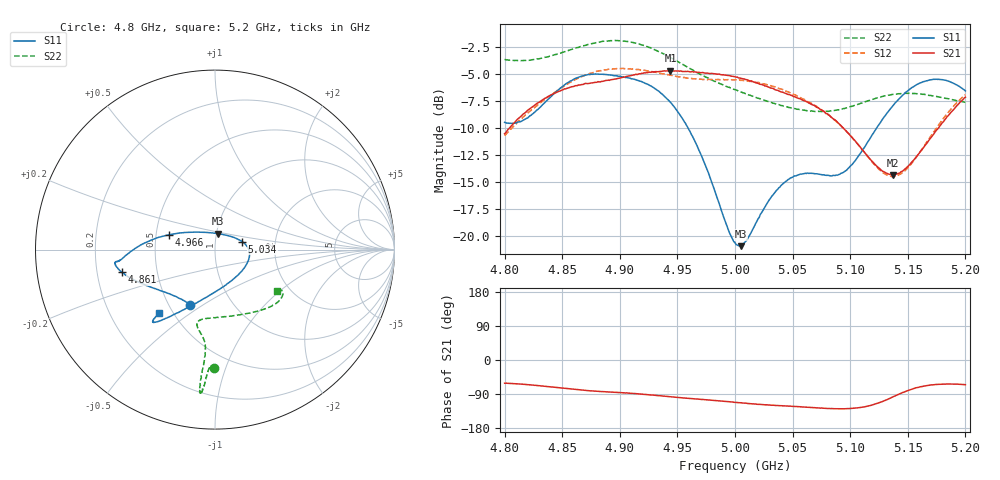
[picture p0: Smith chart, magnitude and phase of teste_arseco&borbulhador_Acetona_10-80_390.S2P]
! Network Analyzer HP8722D
! Hewlett-Packard
! Data name: Linha & Wilkinson
! Saver's name: Rodrigo Anjos
! Comments: Teste da utilização de aquisição
! continua pelo VNA HP8722D
! Time and date: 17/4/2025 17:36
!  Frequency  S11  S21  S12  S22
# HZ  S  MA R 50
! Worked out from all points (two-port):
!   401 points, 4.8 GHz to 5.2 GHz, reference 50 ohm
!   highest |S21| = -4.69 dB at 4.944 GHz (marker M1); lowest = -14.3 dB at 5.137 GHz (marker M2)
!   |S21| within 3 dB of the highest: 4.828 GHz to 5.064 GHz (235.8 MHz wide, 4.77 % of centre); 5.194634 GHz to end of sweep
!   lowest |S11| = -20.9 dB at 5.005 GHz (marker M3), VSWR 1.20, Z = 51.1 + j9.07 ohm
!   |S11| at or under -10 dB: 4.959 GHz to 5.123 GHz (163.5 MHz wide, 3.24 % of centre)
!   |S22| runs from -8.5 to -1.9 dB; largest |S21 - S12| = 0.87
!   S11 on the Smith chart (normalised r, x): 4.8 GHz: 0.64, -0.44; 4.861 GHz: 0.31, -0.11; 4.966 GHz: 0.58, +0.10; 5.034 GHz: 1.35, +0.12; 5.2 GHz: 0.42, -0.38
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4.8e9  0.3363 -114.5  0.2978 -61.3  0.292 -175.4  0.6572 -90.4
4.819e9  0.3508 -134.5  0.3776 -64.8  0.3667 -174.3  0.6513 -92.0
4.861e9  0.5357 -166.4  0.4958 -77.8  0.5298 -177.6  0.7393 -94.3
4.867e9  0.5504 -168.7  0.5031 -79.5  0.5471 -178.7  0.7574 -94.4
4.9e9  0.5493 -173.2  0.5394 -85.9  0.5959 174.8  0.8018 -95.8
4.934e9  0.4678 -178.8  0.5774 -94.3  0.5706 171.3  0.713 -96.3
4.944e9  0.4159 176.5  0.5829 -97.0  0.5552 171.3  0.6698 -95.9
4.966e9  0.2695 162.1  0.5748 -102.7  0.5345 173.2  0.5752 -95.4
5e9  0.09337 96.9  0.5469 -111.7  0.5294 175.6  0.4763 -99.3
5.005e9  0.09 78.0  0.5378 -113.1  0.5256 175.6  0.4645 -100.4
5.034e9  0.1578 16.3  0.4787 -119.7  0.4917 174.2  0.4118 -103.2
5.05e9  0.1875 0.4  0.446 -122.5  0.4551 173.5  0.3915 -99.0
5.067e9  0.1954 -18.0  0.4061 -125.4  0.4097 173.3  0.3798 -90.0
5.085e9  0.1913 -46.4  0.3502 -128.4  0.3502 173.5  0.3816 -76.3
5.096e9  0.2007 -68.5  0.3083 -128.5  0.3087 174.6  0.3916 -67.3
5.122e9  0.3111 -108.6  0.2137 -116.0  0.2118 -170.8  0.434 -49.3
5.134e9  0.3833 -118.2  0.1935 -101.7  0.1896 -154.7  0.4499 -43.1
5.137e9  0.4007 -119.9  0.1923 -97.7  0.189 -150.0  0.453 -41.8
5.15e9  0.4707 -125.6  0.2101 -80.8  0.2069 -130.4  0.4579 -37.0
5.17e9  0.5291 -130.0  0.2849 -65.9  0.2904 -112.3  0.4477 -32.4
5.184e9  0.5238 -131.1  0.3566 -63.4  0.3675 -107.7  0.4336 -31.5
5.2e9  0.47 -131.4  0.4397 -65.1  0.4518 -107.2  0.416 -33.8
